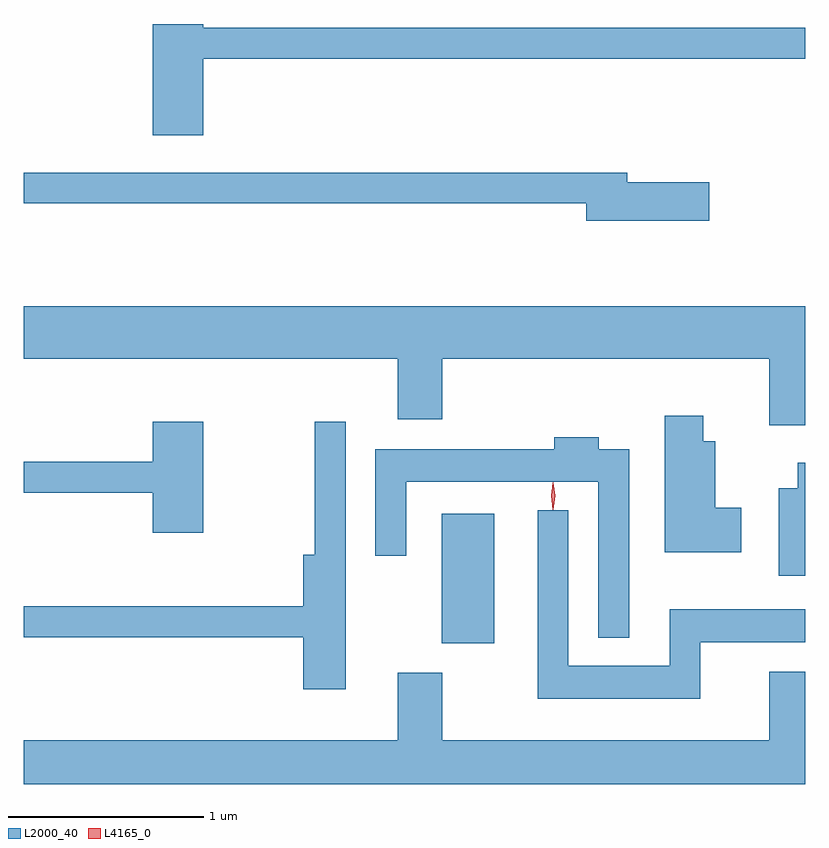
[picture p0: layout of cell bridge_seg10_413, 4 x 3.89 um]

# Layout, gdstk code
import gdstk
lib = gdstk.Library(unit=1e-6, precision=1e-09)
def R(c, l, rs):  # rectangles x0, y0, x1, y1
    for r in rs: c.add(gdstk.rectangle(r[:2], r[2:], *l))
def P(c, l, *ps):  # polygons
    for p in ps: c.add(gdstk.Polygon(p, *l))
L2000_40 = (2000, 40)
L4165_0 = (4165, 0)

bridge_seg10_413 = lib.new_cell('bridge_seg10_413')
R(bridge_seg10_413, L2000_40, [(1416.286,2088.041,1416.554,2088.704)])
P(bridge_seg10_413, L2000_40, [(1415.064,2091.031),(1418.146,2091.031),(1418.146,2091.189),(1415.064,2091.189),(1415.064,2091.209),(1414.806,2091.209),(1414.806,2090.641),(1415.064,2090.641)],
  [(1417.654,2090.399),(1417.234,2090.399),(1417.234,2090.449),(1414.146,2090.449),(1414.146,2090.291),(1417.026,2090.291),(1417.026,2090.201),(1417.654,2090.201)],
  [(1418.146,2089.764),(1414.146,2089.764),(1414.146,2089.496),(1416.061,2089.496),(1416.061,2089.186),(1416.289,2089.186),(1416.289,2089.496),(1417.961,2089.496),(1417.961,2089.156),(1418.146,2089.156)],
  [(1417.819,2088.734),(1417.684,2088.734),(1417.684,2089.074),(1417.624,2089.074),(1417.624,2089.204),(1417.426,2089.204),(1417.426,2088.506),(1417.819,2088.506)],
  [(1415.064,2089.174),(1414.806,2089.174),(1414.806,2088.969),(1414.146,2088.969),(1414.146,2088.811),(1414.806,2088.811),(1414.806,2088.606),(1415.064,2088.606)],
  [(1415.794,2089.173),(1415.636,2089.173),(1415.636,2088.494),(1415.576,2088.494),(1415.576,2088.229),(1414.146,2088.229),(1414.146,2088.071),(1415.576,2088.071),(1415.576,2087.806),(1415.794,2087.806)],
  [(1417.244,2089.034),(1417.089,2089.034),(1417.089,2089.094),(1416.861,2089.094),(1416.861,2089.034),(1415.946,2089.034),(1415.946,2088.488),(1416.104,2088.488),(1416.104,2088.866),(1417.086,2088.866),(1417.086,2088.068),(1417.244,2088.068)],
  [(1418.146,2088.964),(1418.106,2088.964),(1418.106,2088.834),(1418.011,2088.834),(1418.011,2088.386),(1418.146,2088.386)],
  [(1417.609,2088.046),(1418.146,2088.046),(1418.146,2088.214),(1417.451,2088.214),(1417.451,2087.924),(1416.934,2087.924),(1416.934,2088.722),(1416.776,2088.722),(1416.776,2087.756),(1417.609,2087.756)],
  [(1418.146,2087.894),(1417.961,2087.894),(1417.961,2087.544),(1416.289,2087.544),(1416.289,2087.889),(1416.061,2087.889),(1416.061,2087.544),(1414.146,2087.544),(1414.146,2087.32),(1418.146,2087.32)])
P(bridge_seg10_413, L4165_0, [(1416.854,2088.724),(1416.845,2088.794),(1416.854,2088.862),(1416.855,2088.863),(1416.855,2088.862),(1416.865,2088.794),(1416.855,2088.724),(1416.855,2088.724)],
  [(1416.854,2088.727),(1416.845,2088.794),(1416.854,2088.86),(1416.855,2088.86),(1416.855,2088.86),(1416.865,2088.794),(1416.855,2088.727),(1416.855,2088.727)])

lib.write_gds('bridge_seg10_413.gds')
